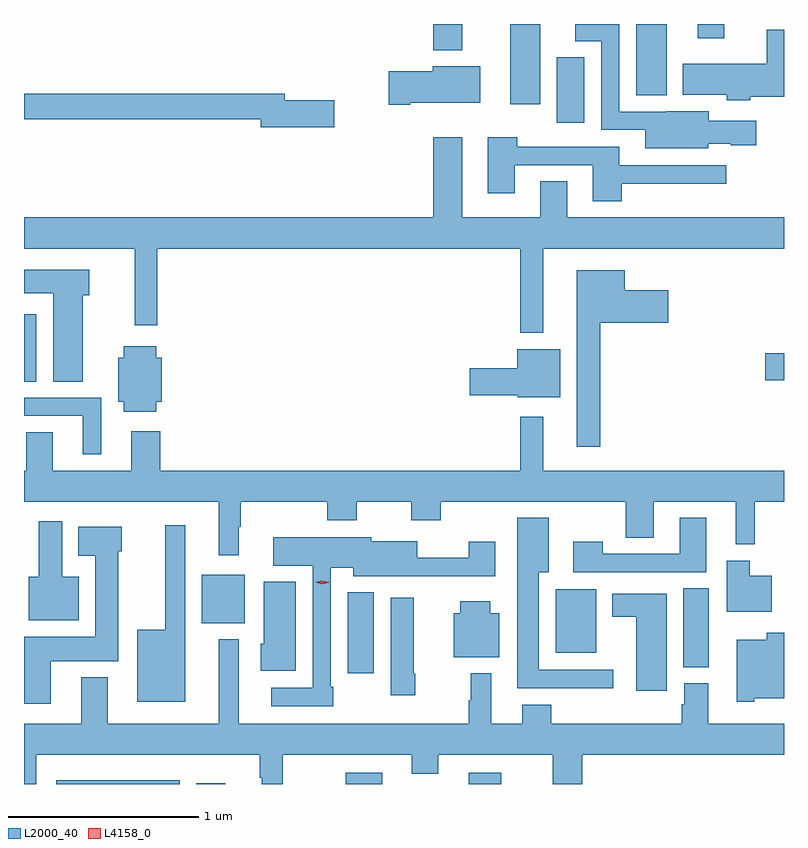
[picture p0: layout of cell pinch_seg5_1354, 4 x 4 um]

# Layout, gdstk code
import gdstk
lib = gdstk.Library(unit=1e-6, precision=1e-09)
def R(c, l, rs):  # rectangles x0, y0, x1, y1
    for r in rs: c.add(gdstk.rectangle(r[:2], r[2:], *l))
def P(c, l, *ps):  # polygons
    for p in ps: c.add(gdstk.Polygon(p, *l))
L2000_40 = (2000, 40)
L4158_0 = (4158, 0)

pinch_seg5_1354 = lib.new_cell('pinch_seg5_1354')
R(pinch_seg5_1354, L2000_40, [(202.23,911.218,202.882,911.239), (202.967,911.218,203.121,911.221), (203.754,911.218,203.947,911.278), (204.401,911.218,204.574,911.278), (203.765,911.802,203.902,912.226), (205.532,911.833,205.666,912.248), (204.86,911.909,205.072,912.244), (202.997,912.065,203.224,912.319), (202.061,913.336,202.126,913.69), (205.962,913.342,206.061,913.484), (204.866,914.697,205.009,915.043), (204.62,914.796,204.778,915.218), (205.283,914.843,205.444,915.218), (204.215,915.08,204.367,915.218), (205.607,915.144,205.747,915.218)])
P(pinch_seg5_1354, L2000_40, [(205.662,914.588),(205.782,914.588),(205.782,914.581),(205.915,914.581),(205.915,914.71),(205.666,914.71),(205.666,914.758),(205.44,914.758),(205.44,914.757),(205.194,914.757),(205.194,915.218),(204.963,915.218),(204.963,915.128),(205.098,915.128),(205.098,914.661),(205.331,914.661),(205.331,914.564),(205.662,914.564)],
  [(205.884,914.834),(206.061,914.834),(206.061,915.187),(205.97,915.187),(205.97,915.01),(205.529,915.01),(205.529,914.846),(205.759,914.846),(205.759,914.816),(205.884,914.816)],
  [(204.094,914.804),(204.463,914.804),(204.463,914.995),(204.212,914.995),(204.212,914.97),(203.982,914.97),(203.982,914.792),(204.094,914.792)],
  [(203.695,914.816),(203.434,914.816),(203.434,914.852),(202.061,914.852),(202.061,914.716),(203.306,914.716),(203.306,914.674),(203.695,914.674)],
  [(204.793,914.036),(206.061,914.036),(206.061,914.2),(204.919,914.2),(204.919,914.39),(204.779,914.39),(204.779,914.2),(204.367,914.2),(204.367,914.623),(204.215,914.623),(204.215,914.2),(202.061,914.2),(202.061,914.036),(202.645,914.036),(202.645,913.632),(202.763,913.632),(202.763,914.036),(204.672,914.036),(204.672,913.592),(204.793,913.592)],
  [(205.208,914.378),(205.756,914.378),(205.756,914.475),(205.195,914.475),(205.195,914.571),(204.656,914.571),(204.656,914.623),(204.503,914.623),(204.503,914.328),(204.643,914.328),(204.643,914.475),(205.055,914.475),(205.055,914.286),(205.208,914.286)],
  [(202.369,913.79),(202.405,913.79),(202.405,913.924),(202.061,913.924),(202.061,913.802),(202.214,913.802),(202.214,913.336),(202.369,913.336)],
  [(205.093,913.646),(205.453,913.646),(205.453,913.816),(205.222,913.816),(205.222,913.921),(204.971,913.921),(204.971,912.993),(205.093,912.993)],
  [(202.757,913.229),(202.786,913.229),(202.786,913.462),(202.757,913.462),(202.757,913.522),(202.586,913.522),(202.586,913.462),(202.556,913.462),(202.556,913.229),(202.586,913.229),(202.586,913.178),(202.757,913.178)],
  [(204.883,913.507),(204.656,913.507),(204.656,913.406),(204.408,913.406),(204.408,913.264),(204.66,913.264),(204.66,913.253),(204.883,913.253)],
  [(202.468,913.251),(202.061,913.251),(202.061,913.155),(202.37,913.155),(202.37,912.954),(202.468,912.954)],
  [(203.191,912.572),(203.201,912.572),(203.201,912.704),(203.656,912.704),(203.656,912.605),(203.811,912.605),(203.811,912.704),(204.1,912.704),(204.1,912.605),(204.255,912.605),(204.255,912.704),(205.228,912.704),(205.228,912.514),(205.375,912.514),(205.375,912.704),(205.808,912.704),(205.808,912.479),(205.907,912.479),(205.907,912.704),(206.061,912.704),(206.061,912.868),(204.793,912.868),(204.793,913.15),(204.672,913.15),(204.672,912.868),(202.778,912.868),(202.778,913.075),(202.625,913.075),(202.625,912.868),(202.213,912.868),(202.213,913.07),(202.073,913.07),(202.073,912.868),(202.061,912.868),(202.061,912.704),(203.087,912.704),(203.087,912.423),(203.191,912.423)],
  [(205.162,911.82),(204.769,911.82),(204.769,912.332),(204.823,912.332),(204.823,912.619),(204.656,912.619),(204.656,911.723),(205.162,911.723)],
  [(205.651,912.619),(205.511,912.619),(205.511,912.429),(205.107,912.429),(205.107,912.493),(204.951,912.493),(204.951,912.333),(205.651,912.333)],
  [(202.348,912.31),(202.261,912.31),(202.261,912.601),(202.139,912.601),(202.139,912.31),(202.085,912.31),(202.085,912.08),(202.348,912.08)],
  [(202.909,912.58),(202.805,912.58),(202.805,912.031),(202.658,912.031),(202.658,911.651),(202.909,911.651)],
  [(202.201,911.864),(202.558,911.864),(202.558,912.444),(202.576,912.444),(202.576,912.571),(202.346,912.571),(202.346,912.419),(202.436,912.419),(202.436,911.992),(202.061,911.992),(202.061,911.64),(202.201,911.64)],
  [(203.689,911.731),(203.676,911.731),(203.676,912.356),(203.795,912.356),(203.795,912.311),(204.541,912.311),(204.541,912.493),(204.401,912.493),(204.401,912.41),(204.13,912.41),(204.13,912.496),(203.889,912.496),(203.889,912.517),(203.373,912.517),(203.373,912.368),(203.58,912.368),(203.58,911.724),(203.361,911.724),(203.361,911.628),(203.689,911.628)],
  [(205.996,912.313),(205.882,912.313),(205.882,912.394),(205.76,912.394),(205.76,912.125),(205.996,912.125)],
  [(203.491,912.283),(203.324,912.283),(203.324,911.955),(203.306,911.955),(203.306,911.813),(203.491,911.813)],
  [(205.444,912.22),(205.157,912.22),(205.157,912.098),(205.283,912.098),(205.283,911.708),(205.444,911.708)],
  [(204.12,911.797),(204.112,911.797),(204.112,912.199),(203.99,912.199),(203.99,911.685),(204.12,911.685)],
  [(204.562,912.118),(204.514,912.118),(204.514,912.181),(204.356,912.181),(204.356,912.118),(204.323,912.118),(204.323,911.885),(204.562,911.885)],
  [(205.905,911.669),(206.061,911.669),(206.061,912.013),(205.97,912.013),(205.97,911.977),(205.811,911.977),(205.811,911.651),(205.905,911.651)],
  [(202.125,911.372),(203.301,911.372),(203.301,911.25),(203.313,911.25),(203.313,911.218),(203.422,911.218),(203.422,911.372),(204.101,911.372),(204.101,911.273),(204.241,911.273),(204.241,911.372),(204.845,911.372),(204.845,911.218),(204.998,911.218),(204.998,911.372),(206.061,911.372),(206.061,911.536),(205.663,911.536),(205.663,911.748),(205.535,911.748),(205.535,911.637),(205.523,911.637),(205.523,911.536),(204.836,911.536),(204.836,911.635),(204.683,911.635),(204.683,911.536),(204.52,911.536),(204.52,911.8),(204.411,911.8),(204.411,911.66),(204.403,911.66),(204.403,911.536),(203.191,911.536),(203.191,911.98),(203.087,911.98),(203.087,911.536),(202.501,911.536),(202.501,911.779),(202.361,911.779),(202.361,911.536),(202.061,911.536),(202.061,911.218),(202.125,911.218)])
P(pinch_seg5_1354, L4158_0, [(203.629,912.269),(203.594,912.28),(203.594,912.28),(203.594,912.28),(203.629,912.289),(203.664,912.279),(203.664,912.279),(203.664,912.278)])

lib.write_gds('pinch_seg5_1354.gds')
